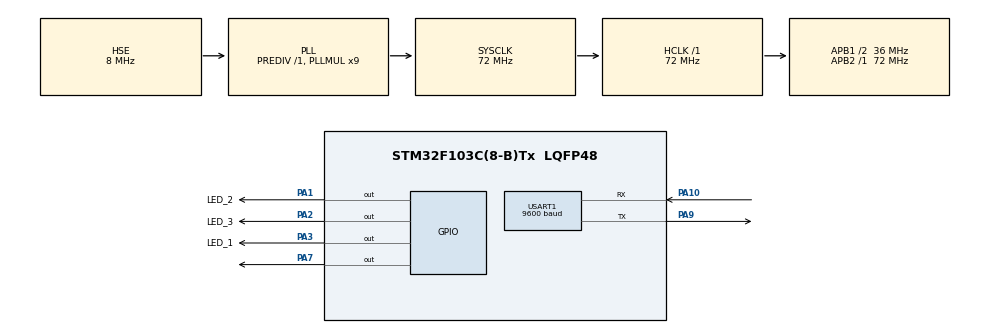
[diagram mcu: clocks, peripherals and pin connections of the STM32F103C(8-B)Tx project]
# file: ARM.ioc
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ADC1.Channel-14\#ChannelRegularConversion=ADC_CHANNEL_TEMPSENSOR
ADC1.ContinuousConvMode=ENABLE
ADC1.EnableInjectedConversion=DISABLE
ADC1.InjNumberOfConversion=0
ADC1.NbrOfConversion=1
ADC1.NbrOfConversionFlag=1
ADC1.Rank-14\#ChannelRegularConversion=1
ADC1.SamplingTime-14\#ChannelRegularConversion=ADC_SAMPLETIME_55CYCLES_5
ADC1.master=1
Mcu.Family=STM32F1
Mcu.Name=STM32F103C(8-B)Tx
Mcu.Package=LQFP48
NVIC.PriorityGroup=NVIC_PRIORITYGROUP_3
NVIC.TIM2_IRQn=true\:1\:0\:true\:true\:true\:1\:true\:true\:true
PA1.GPIO_Label=LED_2
PA1.GPIO_ModeDefaultOutputPP=GPIO_MODE_OUTPUT_OD
PA1.GPIO_PuPd=GPIO_PULLUP
PA1.PinState=GPIO_PIN_SET
PA1.Signal=GPIO_Output
PA10.Mode=Asynchronous
PA10.Signal=USART1_RX
PA13.Mode=Serial_Wire
PA13.Signal=SYS_JTMS-SWDIO
PA14.Mode=Serial_Wire
PA14.Signal=SYS_JTCK-SWCLK
PA2.GPIO_Label=LED_3
PA2.Signal=GPIO_Output
PA3.GPIO_Label=LED_1
PA3.Signal=GPIO_Output
PA7.PinState=GPIO_PIN_SET
PA7.Signal=GPIO_Output
PA9.Mode=Asynchronous
PA9.Signal=USART1_TX
PD0-OSC_IN.Mode=HSE-External-Oscillator
PD0-OSC_IN.Signal=RCC_OSC_IN
PD1-OSC_OUT.Mode=HSE-External-Oscillator
PD1-OSC_OUT.Signal=RCC_OSC_OUT
ProjectManager.HeapSize=0x200
ProjectManager.StackSize=0x400
ProjectManager.TargetToolchain=STM32CubeIDE
RCC.ADCPresc=RCC_ADCPCLK2_DIV6
RCC.AHBFreq_Value=72000000
RCC.APB1CLKDivider=RCC_HCLK_DIV2
RCC.APB1Freq_Value=36000000
RCC.APB1TimFreq_Value=72000000
RCC.APB2Freq_Value=72000000
RCC.APB2TimFreq_Value=72000000
RCC.HCLKFreq_Value=72000000
RCC.PLLMUL=RCC_PLL_MUL9
RCC.PLLSourceVirtual=RCC_PLLSOURCE_HSE
RCC.SYSCLKFreq_VALUE=72000000
RCC.SYSCLKSource=RCC_SYSCLKSOURCE_PLLCLK
RCC.USBFreq_Value=72000000
TIM2.Period=5000
TIM2.Prescaler=7200-1
USART1.BaudRate=9600
USART1.Parity=PARITY_EVEN
USART1.VirtualMode=VM_ASYNC
USART1.WordLength=WORDLENGTH_9B
VP_ADC1_TempSens_Input.Mode=IN-TempSens
VP_TIM2_VS_ClockSourceINT.Mode=Internal
board=custom

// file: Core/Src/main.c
/* USER CODE BEGIN Header */
/**
  ******************************************************************************
  * @file           : main.c
  * @brief          : Main program body
  ******************************************************************************
  * @attention
  *
  * Copyright (c) 2023 STMicroelectronics.
  * All rights reserved.
  *
  * This software is licensed under terms that can be found in the LICENSE file
  * in the root directory of this software component.
  * If no LICENSE file comes with this software, it is provided AS-IS.
  *
  ******************************************************************************
  */
/* USER CODE END Header */
#include "main.h"
#include "adc.h"
#include "tim.h"
#include "usart.h"
#include "gpio.h"

/* USER CODE BEGIN Includes */
#include "SCHD.h"
#include "TEMP.h"
#include "DMA_core.h"
#include "SPI_core.h"
/* USER CODE END Includes */

/* USER CODE BEGIN PV */
uint8_t DMA_Ch1IrqCounter = 0;
/* USER CODE END PV */

void SystemClock_Config(void);
static void MX_NVIC_Init(void);
/* USER CODE BEGIN PFP */
void DMA_IRQ_HANDLER(void);
/* USER CODE END PFP */

/* USER CODE BEGIN 0 */
extern DMA_HandleTypeDef hdma_adc1;
extern ADC_HandleTypeDef hadc1;
uint32_t ADC_DMA_RawValue[100] = {0xffffffff};
uint32_t ADC_DMA_RawValue2[100] = {0xffffffff};
/* USER CODE END 0 */

int main(void)
{

  /* MCU Configuration--------------------------------------------------------*/

  /* Reset of all peripherals, Initializes the Flash interface and the Systick. */
  HAL_Init();

  /* Configure the system clock */
  SystemClock_Config();

  /* Initialize all configured peripherals */
  MX_GPIO_Init();
  MX_TIM2_Init();
  MX_ADC1_Init();
  MX_USART1_UART_Init();

  /* Initialize interrupts */
  MX_NVIC_Init();
  /* USER CODE BEGIN 2 */
  SCHD_Init();
  HAL_TIM_Base_Start_IT(&htim2);
  HAL_ADC_Start(&hadc1);

  extern DMA_config_t DMA_config[7];
  extern SPI_ConfigParam_t SPI_ConfigParams;

  __HAL_RCC_DMA1_CLK_ENABLE();	//enable DMA RCC
  DMA_Init(DMA_config);

  __HAL_RCC_SPI1_CLK_ENABLE();
  SPI_Init(SPI_ConfigParams);

  extern uint16_t ADC_rawValue;
  DMA_IRQ_HandlerSet(DMA_CHANNEL_1,DMA_IRQ_HANDLER);
  DMA_Start(DMA_CHANNEL_1,0x4001244c , ADC_DMA_RawValue, 100);
  DMA_Start(DMA_CHANNEL_2,&ADC_rawValue , ADC_DMA_RawValue2, 100);
  /* USER CODE END 2 */

  /* Infinite loop */
  while (1)
  {

    /* USER CODE BEGIN 3 */
	  SCHD_Main();
  }
  /* USER CODE END 3 */
}

void SystemClock_Config(void)
{
  RCC_OscInitTypeDef RCC_OscInitStruct = {0};
  RCC_ClkInitTypeDef RCC_ClkInitStruct = {0};
  RCC_PeriphCLKInitTypeDef PeriphClkInit = {0};

  /** Initializes the RCC Oscillators according to the specified parameters
  * in the RCC_OscInitTypeDef structure.
  */
  RCC_OscInitStruct.OscillatorType = RCC_OSCILLATORTYPE_HSE;
  RCC_OscInitStruct.HSEState = RCC_HSE_ON;
  RCC_OscInitStruct.HSEPredivValue = RCC_HSE_PREDIV_DIV1;
  RCC_OscInitStruct.HSIState = RCC_HSI_ON;
  RCC_OscInitStruct.PLL.PLLState = RCC_PLL_ON;
  RCC_OscInitStruct.PLL.PLLSource = RCC_PLLSOURCE_HSE;
  RCC_OscInitStruct.PLL.PLLMUL = RCC_PLL_MUL9;
  if (HAL_RCC_OscConfig(&RCC_OscInitStruct) != HAL_OK)
  {
    Error_Handler();
  }

  /** Initializes the CPU, AHB and APB buses clocks
  */
  RCC_ClkInitStruct.ClockType = RCC_CLOCKTYPE_HCLK|RCC_CLOCKTYPE_SYSCLK
                              |RCC_CLOCKTYPE_PCLK1|RCC_CLOCKTYPE_PCLK2;
  RCC_ClkInitStruct.SYSCLKSource = RCC_SYSCLKSOURCE_PLLCLK;
  RCC_ClkInitStruct.AHBCLKDivider = RCC_SYSCLK_DIV1;
  RCC_ClkInitStruct.APB1CLKDivider = RCC_HCLK_DIV2;
  RCC_ClkInitStruct.APB2CLKDivider = RCC_HCLK_DIV1;

  if (HAL_RCC_ClockConfig(&RCC_ClkInitStruct, FLASH_LATENCY_2) != HAL_OK)
  {
    Error_Handler();
  }
  PeriphClkInit.PeriphClockSelection = RCC_PERIPHCLK_ADC;
  PeriphClkInit.AdcClockSelection = RCC_ADCPCLK2_DIV6;
  if (HAL_RCCEx_PeriphCLKConfig(&PeriphClkInit) != HAL_OK)
  {
    Error_Handler();
  }
}

/**
  * @brief NVIC Configuration.
  * @retval None
  */
static void MX_NVIC_Init(void)
{
  /* TIM2_IRQn interrupt configuration */
  HAL_NVIC_SetPriority(TIM2_IRQn, 1, 0);
  HAL_NVIC_EnableIRQ(TIM2_IRQn);
}

/* USER CODE BEGIN 4 */

void HAL_TIM_PeriodElapsedCallback (TIM_HandleTypeDef *htim)
{
	if (htim->Instance == TIM2)
	{
		SCHD_InterruptHandler();
	}
}

void DMA_IRQ_HANDLER(void)
{
	if (DMA_Ch1IrqCounter < 255)  DMA_Ch1IrqCounter++;
	else DMA_Ch1IrqCounter = 0;
}

/* USER CODE END 4 */

void Error_Handler(void)
{
  /* USER CODE BEGIN Error_Handler_Debug */
  /* User can add his own implementation to report the HAL error return state */
  __disable_irq();
  while (1)
  {
	  SCHD_Main();
  }
  /* USER CODE END Error_Handler_Debug */
}
